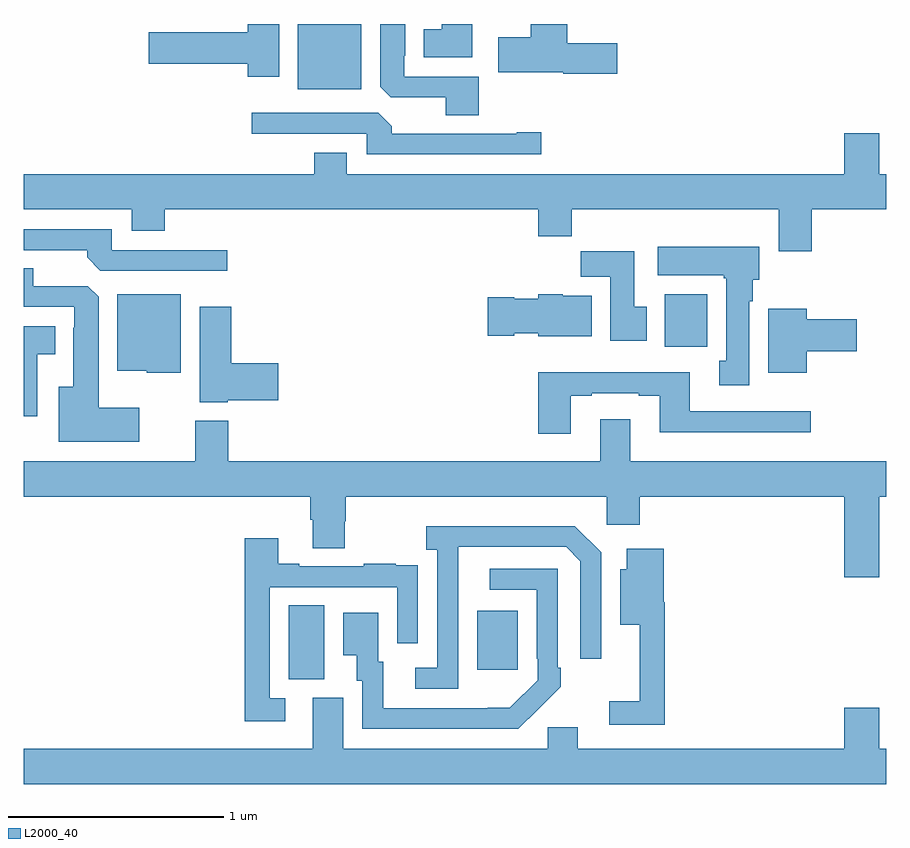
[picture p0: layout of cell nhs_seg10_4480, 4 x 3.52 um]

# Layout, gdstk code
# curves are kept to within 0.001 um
import gdstk
lib = gdstk.Library(unit=1e-6, precision=1e-09)
def R(c, l, rs):  # rectangles x0, y0, x1, y1
    for r in rs: c.add(gdstk.rectangle(r[:2], r[2:], *l))
def P(c, l, *ps):  # polygons
    for p in ps: c.add(gdstk.Polygon(p, *l))
L2000_40 = (2000, 40)

nhs_seg10_4480 = lib.new_cell('nhs_seg10_4480')
R(nhs_seg10_4480, L2000_40, [(366.23,1307.461,366.394,1307.804), (367.103,1307.505,367.291,1307.779), (367.973,1309.004,368.17,1309.246), (366.272,1310.198,366.565,1310.5)])
P(nhs_seg10_4480, L2000_40, [(367.109,1310.256),(366.765,1310.256),(366.765,1310.353),(366.769,1310.353),(366.769,1310.5),(366.653,1310.5),(366.653,1310.209),(366.702,1310.16),(366.956,1310.16),(366.956,1310.077),(367.109,1310.077)],
  [(367.081,1310.5),(366.938,1310.5),(366.938,1310.476),(366.854,1310.476),(366.854,1310.345),(367.081,1310.345)],
  [(366.184,1310.5),(366.038,1310.5),(366.038,1310.462),(365.58,1310.462),(365.58,1310.315),(366.038,1310.315),(366.038,1310.256),(366.184,1310.256)],
  [(367.753,1310.411),(367.52,1310.411),(367.52,1310.5),(367.352,1310.5),(367.352,1310.439),(367.2,1310.439),(367.2,1310.276),(367.503,1310.276),(367.503,1310.269),(367.753,1310.269)],
  [(367.399,1309.997),(367.286,1309.997),(367.286,1309.992),(366.707,1309.992),(366.707,1310.026),(366.645,1310.088),(366.057,1310.088),(366.057,1309.992),(366.591,1309.992),(366.591,1309.896),(367.399,1309.896)],
  [(368.654,1309.64),(369,1309.64),(369,1309.804),(368.968,1309.804),(368.968,1309.993),(368.804,1309.993),(368.804,1309.804),(366.499,1309.804),(366.499,1309.903),(366.347,1309.903),(366.347,1309.804),(365,1309.804),(365,1309.64),(365.501,1309.64),(365.501,1309.541),(365.654,1309.541),(365.654,1309.64),(367.385,1309.64),(367.385,1309.516),(367.541,1309.516),(367.541,1309.64),(368.501,1309.64),(368.501,1309.446),(368.654,1309.446)],
  [(365.944,1309.452),(365.409,1309.452),(365.409,1309.548),(365,1309.548),(365,1309.452),(365.294,1309.452),(365.294,1309.418),(365.355,1309.356),(365.944,1309.356)],
  [(368.365,1309.214),(368.38,1309.214),(368.38,1309.314),(368.41,1309.314),(368.41,1309.468),(367.941,1309.468),(367.941,1309.334),(368.245,1309.334),(368.245,1309.321),(368.258,1309.321),(368.258,1308.938),(368.225,1308.938),(368.225,1308.825),(368.365,1308.825)],
  [(367.888,1309.188),(367.831,1309.188),(367.831,1309.447),(367.582,1309.447),(367.582,1309.328),(367.721,1309.328),(367.721,1309.032),(367.888,1309.032)],
  [(365.536,1308.721),(365.347,1308.721),(365.347,1309.235),(365.298,1309.284),(365.044,1309.284),(365.044,1309.367),(365,1309.367),(365,1309.188),(365.235,1309.188),(365.235,1309.091),(365.231,1309.091),(365.231,1308.817),(365.162,1308.817),(365.162,1308.563),(365.536,1308.563)],
  [(367.633,1309.24),(367.5,1309.24),(367.5,1309.246),(367.386,1309.246),(367.386,1309.225),(367.275,1309.225),(367.275,1309.233),(367.152,1309.233),(367.152,1309.055),(367.275,1309.055),(367.275,1309.067),(367.386,1309.067),(367.386,1309.052),(367.633,1309.052)],
  [(365.728,1309.246),(365.435,1309.246),(365.435,1308.893),(365.571,1308.893),(365.571,1308.884),(365.728,1308.884)],
  [(365.946,1308.755),(366.181,1308.755),(366.181,1308.926),(365.963,1308.926),(365.963,1309.189),(365.816,1309.189),(365.816,1308.746),(365.946,1308.746)],
  [(368.632,1308.983),(368.863,1308.983),(368.863,1309.13),(368.632,1309.13),(368.632,1309.18),(368.453,1309.18),(368.453,1308.884),(368.632,1308.884)],
  [(365.062,1308.968),(365.146,1308.968),(365.146,1309.099),(365,1309.099),(365,1308.681),(365.062,1308.681)],
  [(367.537,1308.777),(367.633,1308.777),(367.633,1308.789),(367.853,1308.789),(367.853,1308.777),(367.949,1308.777),(367.949,1308.608),(368.65,1308.608),(368.65,1308.705),(368.089,1308.705),(368.089,1308.886),(367.385,1308.886),(367.385,1308.6),(367.537,1308.6)],
  [(368.968,1308.308),(369,1308.308),(369,1308.472),(367.813,1308.472),(367.813,1308.667),(367.673,1308.667),(367.673,1308.472),(365.948,1308.472),(365.948,1308.661),(365.795,1308.661),(365.795,1308.472),(365,1308.472),(365,1308.308),(366.329,1308.308),(366.329,1308.202),(366.341,1308.202),(366.341,1308.07),(366.489,1308.07),(366.489,1308.195),(366.494,1308.195),(366.494,1308.308),(367.704,1308.308),(367.704,1308.177),(367.856,1308.177),(367.856,1308.308),(368.804,1308.308),(368.804,1307.934),(368.968,1307.934)],
  [(367.014,1307.875),(367.015,1308.075),(367.515,1308.075),(367.581,1308.009),(367.581,1307.556),(367.677,1307.556),(367.677,1308.051),(367.556,1308.172),(366.867,1308.172),(366.867,1308.062),(366.918,1308.062),(366.918,1307.514),(366.816,1307.514),(366.816,1307.418),(367.014,1307.418)],
  [(366.214,1307.373),(366.141,1307.373),(366.141,1307.889),(366.732,1307.889),(366.732,1307.628),(366.828,1307.628),(366.828,1307.882),(366.827,1307.882),(366.827,1307.991),(366.725,1307.991),(366.725,1307.998),(366.577,1307.998),(366.577,1307.985),(366.277,1307.985),(366.277,1307.998),(366.181,1307.998),(366.181,1308.115),(366.025,1308.115),(366.025,1307.268),(366.214,1307.268)],
  [(367.973,1307.818),(367.967,1307.818),(367.967,1308.067),(367.796,1308.067),(367.796,1307.971),(367.766,1307.971),(367.766,1307.714),(367.856,1307.714),(367.856,1307.359),(367.716,1307.359),(367.716,1307.25),(367.973,1307.25)],
  [(367.385,1307.323),(367.386,1307.322),(367.491,1307.427),(367.491,1307.515),(367.476,1307.515),(367.476,1307.973),(367.161,1307.973),(367.161,1307.877),(367.38,1307.877),(367.38,1307.557),(367.383,1307.557),(367.383,1307.457),(367.255,1307.329),(366.667,1307.328),(366.667,1307.544),(366.643,1307.544),(366.643,1307.77),(366.482,1307.77),(366.482,1307.573),(366.545,1307.573),(366.545,1307.454),(366.57,1307.454),(366.57,1307.232),(367.294,1307.232)],
  [(369,1307.14),(368.968,1307.14),(368.968,1307.329),(368.804,1307.329),(368.804,1307.14),(367.57,1307.14),(367.57,1307.238),(367.431,1307.238),(367.431,1307.14),(366.481,1307.14),(366.481,1307.376),(366.341,1307.376),(366.341,1307.14),(365,1307.14),(365,1306.976),(369,1306.976)])

lib.write_gds('nhs_seg10_4480.gds')
